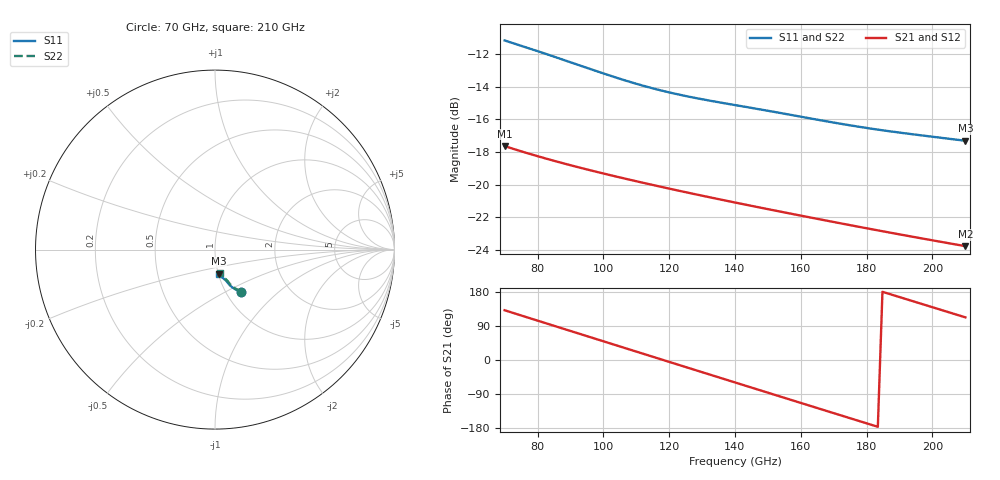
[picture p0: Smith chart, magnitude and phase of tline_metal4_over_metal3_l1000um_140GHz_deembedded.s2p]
! Created with skrf 2.2.0 (http://scikit-rf.org).
# GHz S DB R 50.0
! Port[1] = P1
! Port[2] = P2
!freq dBS11 angS11 dBS21 angS21 dBS12 angS12 dBS22 angS22
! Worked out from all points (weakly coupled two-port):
!   101 points, 70 GHz to 210 GHz, reference 50 ohm
!   highest |S21| = -17.64 dB at 70 GHz (marker M1); lowest = -23.8 dB at 210 GHz (marker M2)
!   lowest |S11| = -17.3 dB at 210 GHz (marker M3), VSWR 1.32, Z = 50.4 - j13.8 ohm
!   |S11| at or under -10 dB: start of sweep to end of sweep
!   |S22| runs from -17.4 to -11.2 dB; largest |S21 - S12| = 8.6e-14
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70  -11.15 -58.5  -17.64 131.3  -17.64 131.3  -11.18 -57.8
75.6  -11.51 -60.2  -17.99 116.0  -17.99 116.0  -11.55 -59.4
81.2  -11.88 -62.0  -18.33 100.7  -18.33 100.7  -11.93 -61.1
86.8  -12.26 -63.7  -18.64 85.4  -18.64 85.4  -12.32 -62.7
93.8  -12.75 -65.5  -19.01 66.3  -19.01 66.3  -12.81 -64.4
100.8  -13.23 -67.0  -19.36 47.3  -19.36 47.3  -13.29 -65.8
106.4  -13.59 -67.9  -19.63 32.0  -19.63 32.0  -13.65 -66.6
112  -13.92 -68.7  -19.89 16.8  -19.89 16.8  -13.98 -67.2
117.6  -14.22 -69.3  -20.14 1.6  -20.14 1.6  -14.28 -67.8
127.4  -14.66 -70.3  -20.57 -25.1  -20.57 -25.1  -14.71 -68.7
134.4  -14.92 -71.1  -20.87 -44.0  -20.87 -44.0  -14.97 -69.5
140  -15.12 -71.9  -21.10 -59.2  -21.10 -59.2  -15.17 -70.3
145.6  -15.31 -72.8  -21.33 -74.4  -21.33 -74.4  -15.36 -71.1
151.2  -15.51 -73.7  -21.56 -89.5  -21.56 -89.5  -15.56 -72.0
156.8  -15.71 -74.6  -21.78 -104.6  -21.78 -104.6  -15.77 -72.9
163.8  -15.97 -75.6  -22.06 -123.5  -22.06 -123.5  -16.03 -73.8
170.8  -16.22 -76.4  -22.33 -142.4  -22.33 -142.4  -16.29 -74.7
176.4  -16.41 -77.0  -22.55 -157.5  -22.55 -157.5  -16.48 -75.3
182  -16.58 -77.6  -22.76 -172.5  -22.76 -172.5  -16.66 -75.8
187.6  -16.74 -78.2  -22.97 172.5  -22.97 172.5  -16.83 -76.4
200.2  -17.07 -79.5  -23.44 138.7  -23.44 138.7  -17.16 -77.7
210  -17.31 -80.7  -23.79 112.5  -23.79 112.5  -17.42 -78.9
